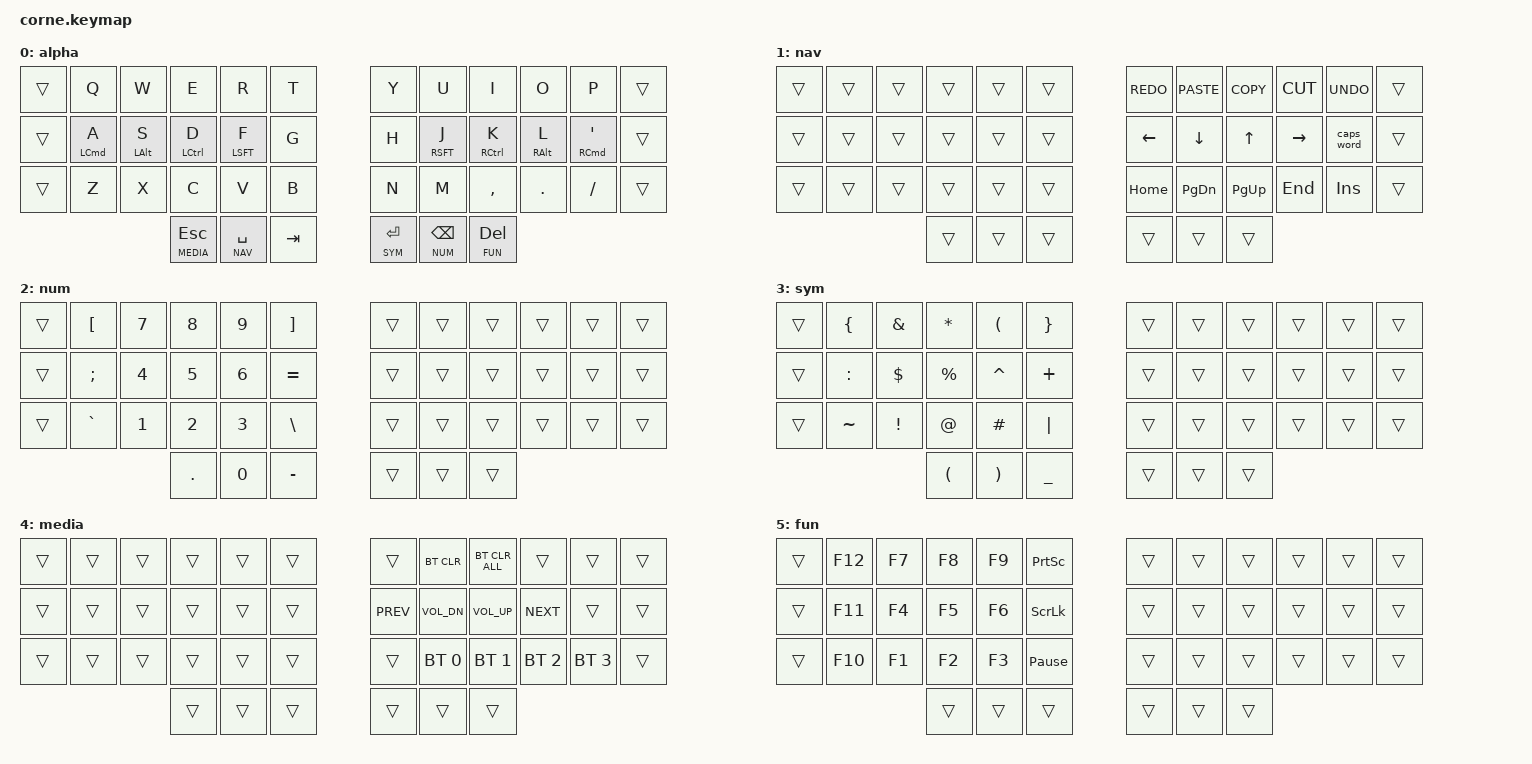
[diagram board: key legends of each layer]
/*
 * Copyright (c) 2020 The ZMK Contributors
 *
 * SPDX-License-Identifier: MIT
 */


#include <behaviors.dtsi>
#include <dt-bindings/zmk/keys.h>
#include <dt-bindings/zmk/bt.h>

#define ALPHA 0
#define NAV 1
#define NUM 2
#define SYM 3
#define MEDIA 4
#define FUN 5

/ {
    behaviors {
        mt: mod_tap {
            compatible = "zmk,behavior-hold-tap";
            #binding-cells = <2>;
            flavor = "tap-preferred";
            tapping-term-ms = <180>;
            bindings = <&kp>, <&kp>;
            display-name = "Mod-Tap";
        };
    };
    keymap {
        compatible = "zmk,keymap";
        alpha {
            display-name = "alpha";
        bindings = <
&trans &kp Q      &kp W      &kp E         &kp R         &kp T   &kp Y       &kp U        &kp I       &kp O      &kp P        &trans
&trans &mt LCMD A &mt LALT S &mt LCTRL D   &mt LSFT F    &kp G   &kp H       &mt RSFT J   &mt RCTRL K &mt RALT L &mt RCMD SQT &trans
&trans &kp Z      &kp X      &kp C         &kp V         &kp B   &kp N       &kp M        &kp COMMA   &kp DOT    &kp FSLH     &trans
                      &lt MEDIA ESC &lt NAV SPACE &kp TAB &lt SYM RET &lt NUM BSPC &lt FUN DEL
        >;
    };
    nav {
        display-name = "nav";
        bindings = <
&trans &trans &trans &trans &trans &trans &kp K_REDO &kp K_PASTE &kp K_COPY &kp K_CUT &kp K_UNDO &trans
&trans &trans &trans &trans &trans &trans &kp LEFT   &kp DOWN    &kp UP     &kp RIGHT &caps_word &trans
&trans &trans &trans &trans &trans &trans &kp HOME   &kp PG_DN   &kp PG_UP  &kp END   &kp INS    &trans
              &trans &trans &trans &trans     &trans      &trans
        >;
    };
    num {
        display-name = "num";
        bindings = <
&trans &kp LBKT  &kp N7 &kp N8  &kp N9 &kp RBKT  &trans &trans &trans &trans &trans &trans
&trans &kp SEMI  &kp N4 &kp N5  &kp N6 &kp EQUAL &trans &trans &trans &trans &trans &trans
&trans &kp GRAVE &kp N1 &kp N2  &kp N3 &kp BSLH  &trans &trans &trans &trans &trans &trans
                 &kp DOT &kp N0 &kp MINUS &trans &trans &trans
        >;
    };
    sym {
        display-name = "sym";
        bindings = <
&trans &kp LBRC  &kp AMPS &kp STAR  &kp LPAR  &kp RBRC  &trans &trans &trans &trans &trans &trans
&trans &kp COLON &kp DLLR &kp PRCNT &kp CARET &kp PLUS  &trans &trans &trans &trans &trans &trans
&trans &kp TILDE &kp EXCL &kp AT    &kp HASH  &kp PIPE  &trans &trans &trans &trans &trans &trans
                   &kp LPAR  &kp RPAR  &kp UNDER &trans &trans &trans
        >;
    };
    media {
        display-name = "media";
         bindings = <
&trans &trans &trans &trans &trans &trans &trans     &bt BT_CLR   &bt BT_CLR_ALL &trans       &trans       &trans
&trans &trans &trans &trans &trans &trans &kp C_PREV &kp C_VOL_DN &kp C_VOL_UP   &kp C_NEXT   &trans       &trans
&trans &trans &trans &trans &trans &trans &trans     &bt BT_SEL 0 &bt BT_SEL 1   &bt BT_SEL 2 &bt BT_SEL 3 &trans
              &trans &trans &trans &trans &trans &trans
        >;
    };
    fun {
        display-name = "fun";
        bindings = <
&trans &kp F12 &kp F7 &kp F8 &kp F9 &kp PSCRN       &trans &trans &trans &trans &trans &trans
&trans &kp F11 &kp F4 &kp F5 &kp F6 &kp SLCK        &trans &trans &trans &trans &trans &trans
&trans &kp F10 &kp F1 &kp F2 &kp F3 &kp PAUSE_BREAK &trans &trans &trans &trans &trans &trans
               &trans &trans &trans          &trans &trans &trans
        >;
    };
  };
};

